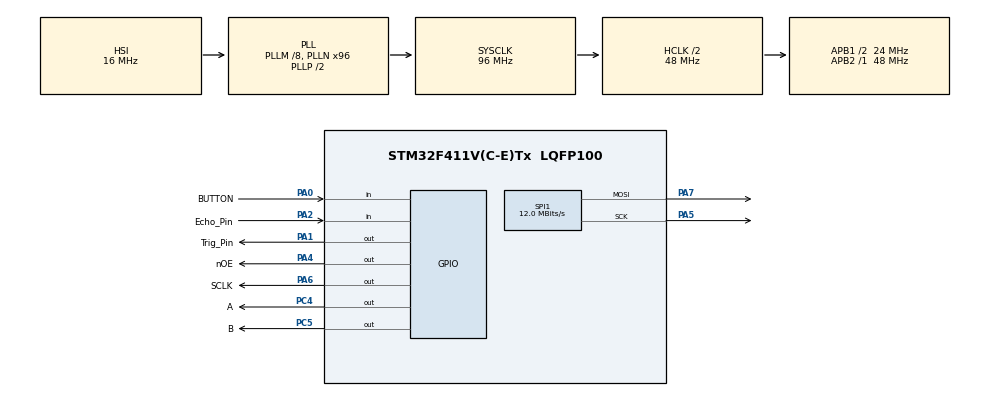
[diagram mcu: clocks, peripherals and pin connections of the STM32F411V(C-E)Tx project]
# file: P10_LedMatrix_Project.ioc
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Mcu.Family=STM32F4
Mcu.Name=STM32F411V(C-E)Tx
Mcu.Package=LQFP100
NVIC.PriorityGroup=NVIC_PRIORITYGROUP_4
NVIC.TIM1_UP_TIM10_IRQn=true\:0\:0\:false\:false\:true\:true\:true\:true
PA0-WKUP.GPIO_Label=BUTTON
PA0-WKUP.Signal=GPIO_Input
PA1.GPIO_Label=Trig_Pin
PA1.Signal=GPIO_Output
PA13.Mode=Serial_Wire
PA13.Signal=SYS_JTMS-SWDIO
PA14.Mode=Serial_Wire
PA14.Signal=SYS_JTCK-SWCLK
PA2.GPIO_Label=Echo_Pin
PA2.Signal=GPIO_Input
PA4.GPIO_Label=nOE
PA4.Signal=GPIO_Output
PA5.Mode=TX_Only_Simplex_Unidirect_Master
PA5.Signal=SPI1_SCK
PA6.GPIO_Label=SCLK
PA6.Signal=GPIO_Output
PA7.Mode=TX_Only_Simplex_Unidirect_Master
PA7.Signal=SPI1_MOSI
PC4.GPIO_Label=A
PC4.Signal=GPIO_Output
PC5.GPIO_Label=B
PC5.Signal=GPIO_Output
PH0\ -\ OSC_IN.Mode=HSE-External-Oscillator
PH0\ -\ OSC_IN.Signal=RCC_OSC_IN
PH1\ -\ OSC_OUT.Mode=HSE-External-Oscillator
PH1\ -\ OSC_OUT.Signal=RCC_OSC_OUT
ProjectManager.HeapSize=0x200
ProjectManager.StackSize=0x400
ProjectManager.TargetToolchain=STM32CubeIDE
RCC.48MHZClocksFreq_Value=48000000
RCC.AHBCLKDivider=RCC_SYSCLK_DIV2
RCC.AHBFreq_Value=48000000
RCC.APB1CLKDivider=RCC_HCLK_DIV2
RCC.APB1Freq_Value=24000000
RCC.APB1TimFreq_Value=48000000
RCC.APB2Freq_Value=48000000
RCC.APB2TimFreq_Value=48000000
RCC.CortexFreq_Value=48000000
RCC.HCLKFreq_Value=48000000
RCC.HSE_VALUE=25000000
RCC.HSI_VALUE=16000000
RCC.LSE_VALUE=32768
RCC.PLLM=8
RCC.PLLN=96
RCC.SYSCLKFreq_VALUE=96000000
RCC.SYSCLKSource=RCC_SYSCLKSOURCE_PLLCLK
RCC.VCOOutputFreq_Value=192000000
SPI1.BaudRatePrescaler=SPI_BAUDRATEPRESCALER_4
SPI1.CalculateBaudRate=12.0 MBits/s
SPI1.Direction=SPI_DIRECTION_2LINES
SPI1.Mode=SPI_MODE_MASTER
SPI1.VirtualType=VM_MASTER
TIM1.Period=800-1
TIM1.Prescaler=1000-1
VP_TIM1_VS_ClockSourceINT.Mode=Internal
board=custom

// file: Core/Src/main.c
/* USER CODE BEGIN Header */
/**
  ******************************************************************************
  * @file           : main.c
  * @brief          : Main program body
  ******************************************************************************
  * @attention
  *
  * <h2><center>&copy; Copyright (c) 2022 STMicroelectronics.
  * All rights reserved.</center></h2>
  *
  * This software component is licensed by ST under BSD 3-Clause license,
  * the "License"; You may not use this file except in compliance with the
  * License. You may obtain a copy of the License at:
  *                        opensource.org/licenses/BSD-3-Clause
  *
  ******************************************************************************
  */
/* USER CODE END Header */
#include "main.h"
#include "spi.h"
#include "tim.h"
#include "gpio.h"

/* USER CODE BEGIN Includes */
#include "disp1color.h"
#include "font.h"
#include <locale.h>
#include "dwt_stm32_delay.h"
#define f6x8_MONO_WIDTH 6

/* USER CODE END Includes */

/* USER CODE BEGIN PD */
uint16_t xs = 15;
   float ys = 8;
   float xh = 38;
   float yh = 0;
   float xh1 = 32; // xh-6
   float yh1 = 0;
   uint8_t h_HEIGHT[16] = {5,2,7,8,4,3,7,5,2,7,4,8,7,3,4,3,2,5,2,7};
   uint8_t l_HEIGHT[16] = {12,9,14,15,11,10,14,12,9,14,11,15,14,10,11,10,9,12,9,14};
   int fillflag = 0;
   float yl, yl1;
   uint16_t xe, ye, isdead, Pisdead = 0;
   uint8_t jump_flag = 0;
   uint8_t jump_time = 0;
   uint8_t prop_count=0;
/* USER CODE END PD */

/* USER CODE BEGIN PV */
extern volatile int16_t flag;
int16_t X = 32;
uint16_t Period = 70;
uint16_t TickNum = 1; //150
extern uint8_t data1[16], data2[16], data3[16], data4[16];
int button;
int pbutton;

void disp_row(int row){

	  if (row == 0){

		  for(uint8_t i=0; i<6; i++){
		  		HAL_SPI_Transmit(&hspi1, &data1, 16, 10);
		  }

		  HAL_GPIO_WritePin(SCLK_GPIO_Port, SCLK_Pin, GPIO_PIN_RESET);
		  HAL_GPIO_WritePin(SCLK_GPIO_Port, SCLK_Pin, GPIO_PIN_SET);

		  HAL_GPIO_WritePin(A_GPIO_Port, A_Pin, GPIO_PIN_RESET);
		  HAL_GPIO_WritePin(B_GPIO_Port, B_Pin, GPIO_PIN_RESET);
	  }
	  if (row == 1){

		  for(uint8_t i=0; i<6; i++){
		  		HAL_SPI_Transmit(&hspi1, &data2, 16, 10);
		  }

		  HAL_GPIO_WritePin(SCLK_GPIO_Port, SCLK_Pin, GPIO_PIN_RESET);
		  HAL_GPIO_WritePin(SCLK_GPIO_Port, SCLK_Pin, GPIO_PIN_SET);

		  HAL_GPIO_WritePin(A_GPIO_Port, A_Pin, GPIO_PIN_SET);
		  HAL_GPIO_WritePin(B_GPIO_Port, B_Pin, GPIO_PIN_RESET);
	  }

	  if (row == 2){

		  for(uint8_t i=0; i<6; i++){
		  		HAL_SPI_Transmit(&hspi1, &data3, 16, 10);
		  }

		  HAL_GPIO_WritePin(SCLK_GPIO_Port, SCLK_Pin, GPIO_PIN_RESET);
		  HAL_GPIO_WritePin(SCLK_GPIO_Port, SCLK_Pin, GPIO_PIN_SET);

		  HAL_GPIO_WritePin(A_GPIO_Port, A_Pin, GPIO_PIN_RESET);
		  HAL_GPIO_WritePin(B_GPIO_Port, B_Pin, GPIO_PIN_SET);
	  }

	  if (row == 3){

		  for(uint8_t i=0; i<6; i++){
		  		HAL_SPI_Transmit(&hspi1, &data4, 16, 10);
		  }

		  HAL_GPIO_WritePin(SCLK_GPIO_Port, SCLK_Pin, GPIO_PIN_RESET);
		  HAL_GPIO_WritePin(SCLK_GPIO_Port, SCLK_Pin, GPIO_PIN_SET);

		  HAL_GPIO_WritePin(A_GPIO_Port, A_Pin, GPIO_PIN_SET);
		  HAL_GPIO_WritePin(B_GPIO_Port, B_Pin, GPIO_PIN_SET);
	  }

	  HAL_GPIO_WritePin(nOE_GPIO_Port, nOE_Pin, GPIO_PIN_SET);
		  for(uint32_t x=0; x<=500; x++) {};
	 HAL_GPIO_WritePin(nOE_GPIO_Port, nOE_Pin, GPIO_PIN_RESET);
  }

/* USER CODE END PV */

void SystemClock_Config(void);

/* USER CODE BEGIN 0 */
uint32_t sensor_time;
uint16_t distance;

uint32_t Read_HCSR04()
{
	uint32_t local_time = 0;

	HAL_GPIO_WritePin(GPIOA, GPIO_PIN_1, GPIO_PIN_SET);		// pull the trig pin high
	DWT_Delay_us(10);										// wait for 10 us
	HAL_GPIO_WritePin(GPIOA, GPIO_PIN_1, GPIO_PIN_RESET);	// pull the trig pin low

	// wait for the echo pin to go high

	while(!(HAL_GPIO_ReadPin(GPIOA, GPIO_PIN_2)));

	while(HAL_GPIO_ReadPin(GPIOA, GPIO_PIN_2))				// while the pin is high
	{
		local_time++;										// increment local time
		DWT_Delay_us(1);									// every 1 us
	}

	return local_time * 2;
}
/* USER CODE END 0 */

int main(void)
{

  /* MCU Configuration--------------------------------------------------------*/

  /* Reset of all peripherals, Initializes the Flash interface and the Systick. */
  HAL_Init();

  /* Configure the system clock */
  SystemClock_Config();

  /* Initialize all configured peripherals */
  MX_GPIO_Init();
  MX_SPI1_Init();
  MX_TIM1_Init();
  /* USER CODE BEGIN 2 */
  DWT_Delay_Init();
  HAL_GPIO_WritePin(nOE_GPIO_Port, nOE_Pin, GPIO_PIN_RESET);
  char *pMyStr = "Game over";  //Строка на вывод
  uint16_t strSize = strlen(pMyStr);
  uint8_t symbolDelay = 2;
  //char *pMyStr2 = "Lose";
  HAL_TIM_Base_Start_IT(&htim1);
  /* USER CODE END 2 */

  /* Infinite loop */
  while (1)
  {

    /* USER CODE BEGIN 3 */
	   //=============================================================

	  	  if(distance <7) {
	  		  jump_flag=1;
	  	  }

	  //======================================================

	  sensor_time = Read_HCSR04();
	  distance = sensor_time * .034 / 2;

	  if (distance >20) distance = 20;
	  if(distance <=0) distance = 0;

	  //=============================================================
	  // Основное условие игры
	  if ((flag == 1) &&(Pisdead == 0)){ // флаг переменная с таймера, которая срабатывает 60 раз в секунду
		  	  	xh = xh-0.3; // Движение препятствий
		  	  	if (xh<-6){ // Если препятствие ушло за конец экрана, прибавляется счётчик препятствий
		  	  		prop_count++; // счётчик
		  	  		if (prop_count>15){ // Ограничение счётчика (15 потому что массив из 16 элементов)
		  	  			prop_count=0; // Сброс счётчика препятствий ( Счётчик == индекс массива)
		  	  		}
		  	  		xh = 38; // Генерация нового препятствия с заданной координаты
		  	  	}
		  	  	xh1 = xh + 6; // Ширина препят
		  	  	yh = 0; //  Верхний край верхнего препят
		  	  	yl = 16; // Нижний край нижнего препят
		  	  	yh1 = h_HEIGHT[prop_count]; // Нижняя часть верхего препят
		  	  	yl1 = l_HEIGHT[prop_count]; // Вернхняя часть нижнего препят
	  			ys = ys + 0.33; // изменение координат птички, падение вниз
	  			// ======================================================
	  			// Обработка прыжка

	  			if ((jump_flag == 1)&&(jump_time<4)){ // джамп тайм = кол-во кадров с начала прыжка
	  				jump_time++; // Cчётчик кадров в прыжке
	  				ys = ys-1.25; //изменение координаты птички вверх
	  			}
	  			else if ((jump_flag == 1) && (jump_time>=2)){// Проверка, если кадров в прыжке больше чем 3 прыжок заканичавется
	  				jump_time=0;
	  				jump_flag=0;
	  			}
	  			// =======================================================
	  			if (ys > 15) ys=15; // Ограничение координат птички снизу
	  			if (ys < 0) ys = 0; // Ограничение координат птички сверху
	  			if (((xs-1)>=xh) && (ys<=yh1)&&((xs-1)<=xh1)){ // Проверка столкновения птички с препят
	  				Pisdead++;
	  			}
			if ((xs>=xh) && (xs<=xh1) && ((ys+1) >= yl1)) // Как вверху, но для нижнего препятствия
			{
				Pisdead++; // игрок мёртв и игровой цикл не идёт
			}
	  			flag = 0;
	  		}
	  //================================================================
	  		if (Pisdead == 0){
	  		// Отчищение экрана
	  		disp1color_FillScreenbuff(0);
	  		// Отрисовка птички
    		disp1color_DrawLine(xs, (int)ys, xs-1, (int)ys);
    		disp1color_DrawLine(xs-1,(int)ys+1,xs+1,(int)ys+1);
    		// Отрисовка препятствий
    		disp1color_DrawRectangle(xh,yh,xh1,yh1);
    		disp1color_DrawRectangle(xh,yl,xh1,yl1);
	  		}

	  		if(Pisdead == 1)
			{
	  			disp1color_FillScreenbuff(0);
	  			fillflag = 1;

	  			 for (int16_t x = 32; x > -((strSize + symbolDelay) * f6x8_MONO_WIDTH); x--){
	  			disp1color_printf(x, 4, FONTID_6X8M, pMyStr);
	  			disp1color_UpdateFromBuff(); //Перевод рассчитанных данных в массив
	  			prepare_data(); //Разбиение массива на массивы под каждую строку
		  		for (uint8_t i = 0; i < 20; i++) {
		  			disp_row(0);
		  			disp_row(1);
		  			disp_row(2);
		  			disp_row(3);
		  		}
	  			 }
	  		}
	  		disp1color_UpdateFromBuff(); //Перевод рассчитанных данных в массив
	  		prepare_data(); //Разбиение массива на массивы под каждую строку

	  		//Включение матрицы (построчно)
	  		for (uint8_t i = 0; i < 20; i++) {
	  			disp_row(0);
	  			disp_row(1);
	  			disp_row(2);
	  			disp_row(3);
			}
  }
  /* USER CODE END 3 */
}

void SystemClock_Config(void)
{
  RCC_OscInitTypeDef RCC_OscInitStruct = {0};
  RCC_ClkInitTypeDef RCC_ClkInitStruct = {0};

  /** Configure the main internal regulator output voltage
  */
  __HAL_RCC_PWR_CLK_ENABLE();
  __HAL_PWR_VOLTAGESCALING_CONFIG(PWR_REGULATOR_VOLTAGE_SCALE1);
  /** Initializes the RCC Oscillators according to the specified parameters
  * in the RCC_OscInitTypeDef structure.
  */
  RCC_OscInitStruct.OscillatorType = RCC_OSCILLATORTYPE_HSI;
  RCC_OscInitStruct.HSIState = RCC_HSI_ON;
  RCC_OscInitStruct.HSICalibrationValue = RCC_HSICALIBRATION_DEFAULT;
  RCC_OscInitStruct.PLL.PLLState = RCC_PLL_ON;
  RCC_OscInitStruct.PLL.PLLSource = RCC_PLLSOURCE_HSI;
  RCC_OscInitStruct.PLL.PLLM = 8;
  RCC_OscInitStruct.PLL.PLLN = 96;
  RCC_OscInitStruct.PLL.PLLP = RCC_PLLP_DIV2;
  RCC_OscInitStruct.PLL.PLLQ = 4;
  if (HAL_RCC_OscConfig(&RCC_OscInitStruct) != HAL_OK)
  {
    Error_Handler();
  }
  /** Initializes the CPU, AHB and APB buses clocks
  */
  RCC_ClkInitStruct.ClockType = RCC_CLOCKTYPE_HCLK|RCC_CLOCKTYPE_SYSCLK
                              |RCC_CLOCKTYPE_PCLK1|RCC_CLOCKTYPE_PCLK2;
  RCC_ClkInitStruct.SYSCLKSource = RCC_SYSCLKSOURCE_PLLCLK;
  RCC_ClkInitStruct.AHBCLKDivider = RCC_SYSCLK_DIV2;
  RCC_ClkInitStruct.APB1CLKDivider = RCC_HCLK_DIV2;
  RCC_ClkInitStruct.APB2CLKDivider = RCC_HCLK_DIV1;

  if (HAL_RCC_ClockConfig(&RCC_ClkInitStruct, FLASH_LATENCY_1) != HAL_OK)
  {
    Error_Handler();
  }
}

void Error_Handler(void)
{
  __disable_irq();
  while (1)
  {
  }
}

/************************ (C) COPYRIGHT STMicroelectronics *****END OF FILE****/
